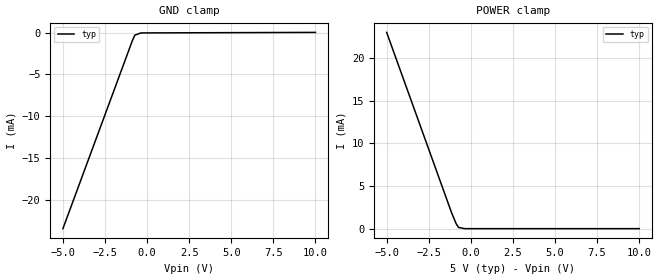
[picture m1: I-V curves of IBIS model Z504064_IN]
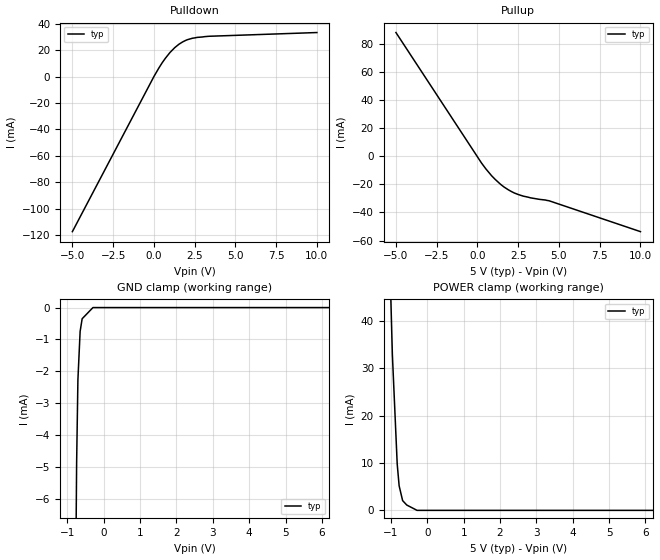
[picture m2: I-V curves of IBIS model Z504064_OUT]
| YOU ARE ONLY AUTHORIZED TO USE THIS SOFTWARE
| ACCORDING TO LICENSOR'S LICENSE RESTRICTIONS.
[IBIS Ver] 3.1
[File Name] mc54hc153j.ibs
[File Rev] 2.0
[Source] Measured and created by ICX Technology
[Date] Friday 7/14/00 9:08:06 AM
[Copyright]
| (C) COPYRIGHT 1993-2000
| MENTOR GRAPHICS CORPORATION
| ICX STANDARD LIBRARY, ICX PROJECT MODELING,
| ICX CUSTOM MODELING, ICX VENDOR MODEL
| ALL RIGHTS RESERVED.
| THE FOLLOWING ARE TRADEMARKS OR SERVICE MARKS OF
| MENTOR GRAPHICS CORPORATION:ICX (R), ICX STANDARD
| LIBRARY(R), ICX PROJECT MODELING(R), ICX CUSTOM
| MODELING(R), qualityIBIS(TM), MODELVIEWER(TM),
| AND MODELEDITOR(TM)
| ALL COPIES OF SOFTWARE, INCLUDING BUT NOT LIMITED TO
| ANY MODIFICATIONS, ENHANCEMENTS OR DERIVATIVE WORKS,
| MUST CONTAIN ALL MENTOR GRAPHICS CORPORATION'S
| NOTICES AND LEGENDS, INCLUDING THOSE EMBEDDED IN
| SOFTWARE AND THOSE AFFIXED TO SOFTWARE MEDIUM
| AND CONTAINER, AS RECEIVED FROM MENTOR GRAPHICS
| CORPORATION.
|  ZAP Model Builder 2.7
[Component] MC54HC153J
[Manufacturer] OnSemiconductor
[Package]
| variable   typ   min   max
R_pkg  .212ohms NA NA
L_pkg  4.758nH NA NA
C_pkg  1.944pF NA NA
[Pin] signal_name  model_name  R_pin  L_pin C_pin
1 _G1 Z504064_IN .224 7.258n 2.683p
2 B Z504064_IN .216 5.258n 2.19p
3 C3A Z504064_IN .208 3.758n 1.697p
4 C2A Z504064_IN .2 2.758n 1.204p
5 C1A Z504064_IN .2 2.758n 1.204p
6 C0A Z504064_IN .208 3.758n 1.697p
7 Y1 Z504064_OUT .216 5.258n 2.19p
8 GROUND GND .224 7.258n 2.683p
9 Y2 Z504064_OUT .224 7.258n 2.683p
10 C0B Z504064_IN .216 5.258n 2.19p
11 C1B Z504064_IN .208 3.758n 1.697p
12 C2B Z504064_IN .2 2.758n 1.204p
13 C3B Z504064_IN .2 2.758n 1.204p
14 A Z504064_IN .208 3.758n 1.697p
15 _G2 Z504064_IN .216 5.258n 2.19p
16 VCC POWER .224 7.258n 2.683p
| Models and submodels in the file (2): Z504064_IN (Input), Z504064_OUT (Output)
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| (C) COPYRIGHT 1993-2000
| MENTOR GRAPHICS CORPORATION
| ICX STANDARD LIBRARY, ICX PROJECT MODELING,
| ICX CUSTOM MODELING, ICX VENDOR MODEL
| ALL RIGHTS RESERVED.
| THE FOLLOWING ARE TRADEMARKS OR SERVICE MARKS OF
| MENTOR GRAPHICS CORPORATION:ICX (R), ICX STANDARD
| LIBRARY(R), ICX PROJECT MODELING(R), ICX CUSTOM
| MODELING(R), qualityIBIS(TM), MODELVIEWER(TM),
| AND MODELEDITOR(TM)
| ALL COPIES OF SOFTWARE, INCLUDING BUT NOT LIMITED TO
| ANY MODIFICATIONS, ENHANCEMENTS OR DERIVATIVE WORKS,
| MUST CONTAIN ALL MENTOR GRAPHICS CORPORATION'S
| NOTICES AND LEGENDS, INCLUDING THOSE EMBEDDED IN
| SOFTWARE AND THOSE AFFIXED TO SOFTWARE MEDIUM
| AND CONTAINER, AS RECEIVED FROM MENTOR GRAPHICS
| CORPORATION.
| Model Application Version 1.89 2/18/99.
[Model] Z504064_IN
Model_type Input
Vinl = 1.000V
Vinh = 3.500V
C_comp 4.000pF NA NA
| variable typ   min   max
[Voltage Range] 5.000V NA NA
[GND Clamp Reference] 0.000V NA NA
[POWER Clamp Reference] 5.000V NA NA
[GND Clamp]
-5V       -23.49mA   NA         NA
-878.3mV  -966.1uA   NA         NA
-727.7mV  -286.5uA   NA         NA
-363.8mV  -18.77uA   NA         NA
10V       44.31uA    NA         NA
[POWER Clamp]
-5V       22.99mA    NA         NA
-1.133V   1.808mA    NA         NA
-867mV    563.5uA    NA         NA
-730mV    145uA      NA         NA
-365mV    0A         NA         NA
10V       0A         NA         NA
| (C) COPYRIGHT 1993-2000
| MENTOR GRAPHICS CORPORATION
| ICX STANDARD LIBRARY, ICX PROJECT MODELING,
| ICX CUSTOM MODELING, ICX VENDOR MODEL
| ALL RIGHTS RESERVED.
| THE FOLLOWING ARE TRADEMARKS OR SERVICE MARKS OF
| MENTOR GRAPHICS CORPORATION:ICX (R), ICX STANDARD
| LIBRARY(R), ICX PROJECT MODELING(R), ICX CUSTOM
| MODELING(R), qualityIBIS(TM), MODELVIEWER(TM),
| AND MODELEDITOR(TM)
| ALL COPIES OF SOFTWARE, INCLUDING BUT NOT LIMITED TO
| ANY MODIFICATIONS, ENHANCEMENTS OR DERIVATIVE WORKS,
| MUST CONTAIN ALL MENTOR GRAPHICS CORPORATION'S
| NOTICES AND LEGENDS, INCLUDING THOSE EMBEDDED IN
| SOFTWARE AND THOSE AFFIXED TO SOFTWARE MEDIUM
| AND CONTAINER, AS RECEIVED FROM MENTOR GRAPHICS
| CORPORATION.
| Model Application Version 1.89 2/18/99.
[Model] Z504064_OUT
Model_type Output
Vref=0.000V
Rref=500.0Mohms
Cref=50.00pF
Vmeas=2.500V
C_comp 8.000pF NA NA
| variable typ   min   max
[Voltage Range] 5.000V NA NA
[POWER Clamp Reference] 5.000V NA NA
[Pullup Reference] 5.000V NA NA
[Pulldown Reference] 0.000V NA NA
[GND Clamp Reference] 0.000V NA NA
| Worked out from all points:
|   slope of the pulldown table from 0 to 0.75 V, typ, clamps not added: 51.4 ohm
|   slope of the pullup table from 0 to 0.75 V, typ, clamps not added: 63.4 ohm
|   GND clamp passes 1 mA (typ) near -0.66 V on its own axis
[GND Clamp]
-5V       -643.5mA   NA         NA
-1.258V   -74.2mA    NA         NA
-1.014V   -42.79mA   NA         NA
-747mV    -4.89mA    NA         NA
-711.5mV  -2.265mA   NA         NA
-650.3mV  -745uA     NA         NA
-594.8mV  -350.6uA   NA         NA
-297.4mV  0A         NA         NA
10V       0A         NA         NA
[Pulldown]
-5V       -117.5mA   NA         NA
8.354mV   289.9uA    NA         NA
299.5mV   6.489mA    NA         NA
710.1mV   14.08mA    NA         NA
1.28V     22.06mA    NA         NA
1.535V    24.62mA    NA         NA
1.952V    27.56mA    NA         NA
2.651V    29.82mA    NA         NA
3.366V    30.67mA    NA         NA
10V       33.51mA    NA         NA
[Pullup]
-5V       88.23mA    NA         NA
255mV     -4.873mA   NA         NA
864mV     -13.77mA   NA         NA
1.418V    -19.95mA   NA         NA
1.909V    -23.96mA   NA         NA
2.506V    -27.23mA   NA         NA
3.245V    -29.56mA   NA         NA
4.395V    -31.68mA   NA         NA
10V       -53.68mA   NA         NA
[POWER Clamp]
-5V       1.437A     NA         NA
-1.113V   75.06mA    NA         NA
-962mV    32.98mA    NA         NA
-829mV    9.827mA    NA         NA
-776mV    5.196mA    NA         NA
-680mV    2.067mA    NA         NA
-566mV    1.127mA    NA         NA
-283mV    0A         NA         NA
10V       0A         NA         NA
[Ramp]
| variable typ min max
dV/dt_r 2.691/2.066n NA NA
dV/dt_f 2.691/1.738n NA NA
R_load = 500.0Ohms
